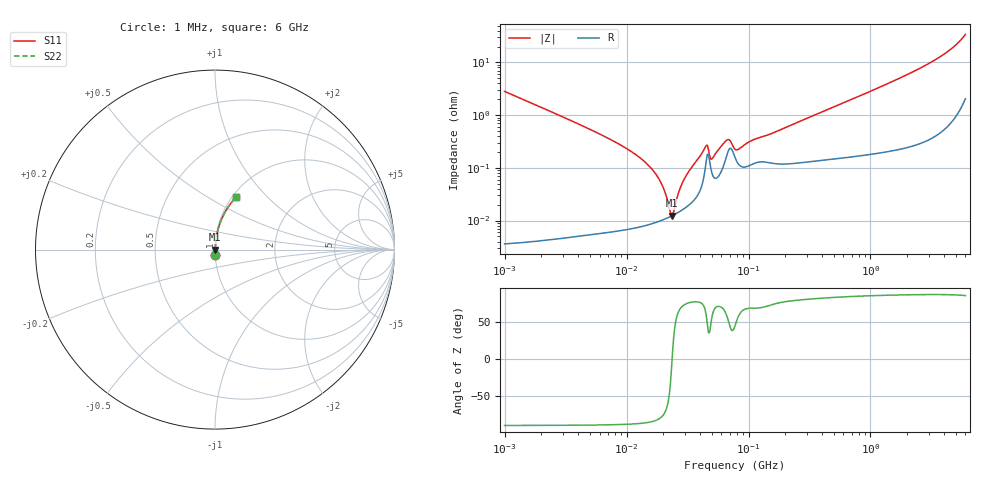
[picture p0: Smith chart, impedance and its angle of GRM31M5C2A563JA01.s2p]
!Murata Part Number: GRM31M5C2A563JA01
!These Parameters are Measured in Series Mode Connection
!Data Generated on Mar 30, 2021
!  o--ll--o
!Port1  Port2
!  o------o
!Operation Temp=25[degC], DC Bias Voltage=0[V]
!Freq. Start=1000[kHz] Stop=6[GHz] 401[Steps]
# Hz S RI R 50
!Freq.(Hz) S11(Real) S11(Imag) S21(Real) S21(Imag) S12(Real) S12(Imag) S22(Real) S22(Imag)
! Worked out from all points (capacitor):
!   401 points, 1 MHz to 6 GHz, reference 50 ohm
!   read as one part in series: C = 56.5 nF near 1.044 MHz
!   lowest |Z| = 12.4 mohm at 23.42 MHz (marker M1)
!   series resonance near 23.62 MHz, so ESL is about 800 pH
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1000000  0.000827 -0.0281  0.9992 0.0281  0.9992 0.0281  0.000827 -0.0281
4293785  9.16e-05 -0.00634  0.9999 0.00634  0.9999 0.00634  9.16e-05 -0.00634
1.142569e7  7.48e-05 -0.0019  0.9999 0.0019  0.9999 0.0019  7.48e-05 -0.0019
1.515906e7  8.46e-05 -0.0011  0.9999 0.0011  0.9999 0.0011  8.46e-05 -0.0011
1.843659e7  9.7e-05 -0.000607  0.9999 0.000607  0.9999 0.000607  9.7e-05 -0.000607
2.011232e7  0.000105 -0.000394  0.9999 0.000394  0.9999 0.000394  0.000105 -0.000394
2.242276e7  0.000117 -0.000128  0.9999 0.000128  0.9999 0.000128  0.000117 -0.000128
2.341962e7  0.000122 -2.11e-05  0.9999 2.11e-05  0.9999 2.11e-05  0.000122 -2.11e-05
2.44608e7  0.000129 8.64e-05  0.9999 -8.64e-05  0.9999 -8.64e-05  0.000129 8.64e-05
2.727078e7  0.000149 0.000361  0.9999 -0.000361  0.9999 -0.000361  0.000149 0.000361
2.974945e7  0.000169 0.000592  0.9998 -0.000592  0.9998 -0.000592  0.000169 0.000592
4.400437e7  0.000922 0.00224  0.9991 -0.00224  0.9991 -0.00224  0.000922 0.00224
4.596069e7  0.00181 0.00196  0.9982 -0.00196  0.9982 -0.00196  0.00181 0.00196
5.013812e7  0.000787 0.00124  0.9992 -0.00124  0.9992 -0.00124  0.000787 0.00124
6.652088e7  0.00176 0.00287  0.9982 -0.00287  0.9982 -0.00287  0.00176 0.00287
7.100585e7  0.00237 0.00218  0.9976 -0.00218  0.9976 -0.00218  0.00237 0.00218
7.745967e7  0.00158 0.0016  0.9984 -0.0016  0.9984 -0.0016  0.00158 0.0016
8.268215e7  0.00118 0.00191  0.9988 -0.00191  0.9988 -0.00191  0.00118 0.00191
3.325952e8  0.00141 0.00945  0.9986 -0.00945  0.9986 -0.00945  0.00141 0.00945
1.428092e9  0.0037 0.0406  0.9963 -0.0406  0.9963 -0.0406  0.0037 0.0406
3.5601e9  0.0182 0.1169  0.9818 -0.1169  0.9818 -0.1169  0.0182 0.1169
6e9  0.1167 0.2922  0.8833 -0.2922  0.8833 -0.2922  0.1167 0.2922
